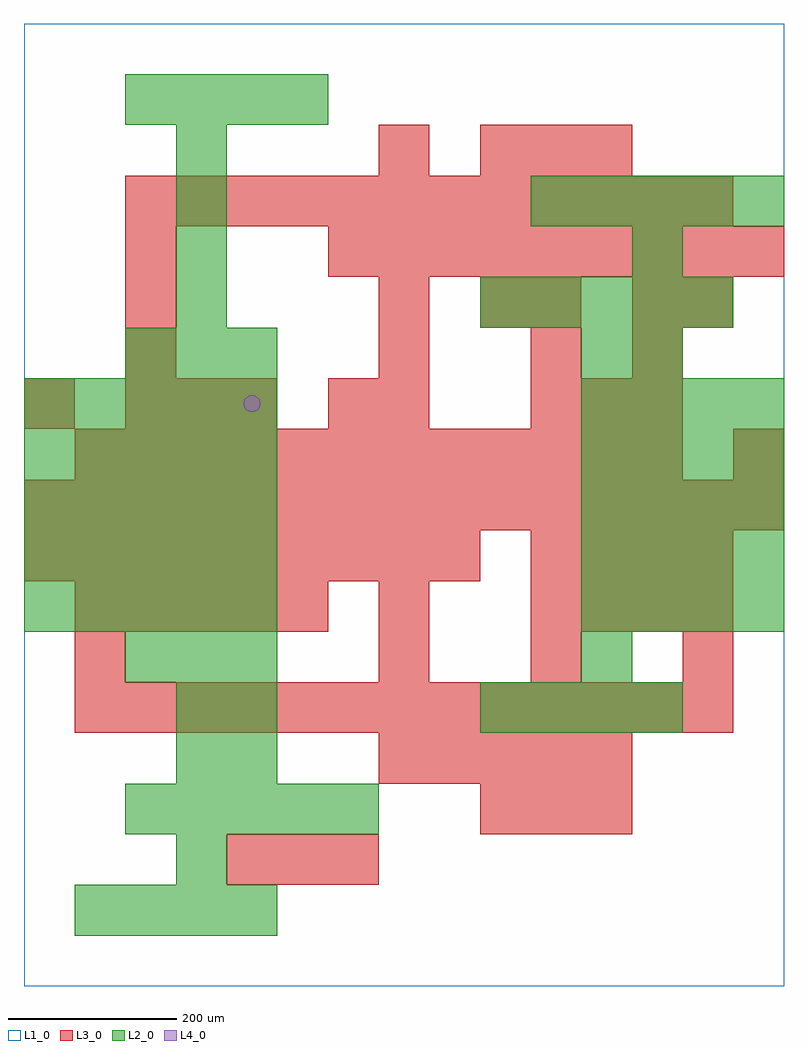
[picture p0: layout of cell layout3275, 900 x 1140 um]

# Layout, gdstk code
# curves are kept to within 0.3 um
import gdstk
lib = gdstk.Library(unit=1e-6, precision=1e-09)
def R(c, l, rs):  # rectangles x0, y0, x1, y1
    for r in rs: c.add(gdstk.rectangle(r[:2], r[2:], *l))
def A(c, l, x, y, w, h, nx, ny, dx, dy):  # array of equal rectangles
    R(c, l, [(x+i*dx, y+j*dy, x+i*dx+w, y+j*dy+h) for i in range(nx) for j in range(ny)])
def P(c, l, *ps):  # polygons
    for p in ps: c.add(gdstk.Polygon(p, *l))
L1_0 = (1, 0)
L2_0 = (2, 0)
L3_0 = (3, 0)
L4_0 = (4, 0)

layout3275 = lib.new_cell('layout3275')
R(layout3275, L1_0, [(0,0,900,1140)])
A(layout3275, L2_0, 60, 60, 60, 60, 4, 1, 60, 0)
A(layout3275, L2_0, 120, 180, 60, 60, 5, 1, 60, 0)
A(layout3275, L2_0, 540, 300, 60, 60, 4, 1, 60, 0)
A(layout3275, L2_0, 120, 360, 60, 60, 3, 2, 60, 360)
A(layout3275, L2_0, 0, 420, 60, 60, 5, 5, 60, 60)
A(layout3275, L2_0, 660, 420, 60, 60, 4, 5, 60, 60)
A(layout3275, L2_0, 180, 780, 60, 60, 1, 4, 0, 60)
A(layout3275, L2_0, 540, 780, 60, 60, 5, 1, 60, 0)
A(layout3275, L2_0, 600, 900, 60, 60, 5, 1, 60, 0)
A(layout3275, L2_0, 120, 1020, 60, 60, 4, 1, 60, 0)
R(layout3275, L2_0, [(180,120,240,180), (180,240,240,300), (240,240,300,300), (180,300,240,360), (240,300,300,360), (660,360,720,420), (660,720,720,780), (720,720,780,780), (720,840,780,900)])
A(layout3275, L3_0, 240, 120, 60, 60, 3, 1, 60, 0)
A(layout3275, L3_0, 540, 180, 60, 60, 3, 2, 60, 780)
A(layout3275, L3_0, 420, 240, 60, 60, 5, 1, 60, 0)
A(layout3275, L3_0, 60, 300, 60, 60, 13, 1, 60, 0)
A(layout3275, L3_0, 420, 360, 60, 60, 3, 1, 180, 0)
A(layout3275, L3_0, 60, 420, 60, 60, 5, 1, 60, 0)
A(layout3275, L3_0, 600, 420, 60, 60, 4, 2, 60, 60)
A(layout3275, L3_0, 0, 480, 60, 60, 9, 1, 60, 0)
A(layout3275, L3_0, 0, 540, 60, 60, 15, 1, 60, 0)
A(layout3275, L3_0, 60, 600, 60, 60, 12, 1, 60, 0)
A(layout3275, L3_0, 120, 660, 60, 60, 3, 1, 60, 0)
A(layout3275, L3_0, 420, 660, 60, 60, 1, 3, 0, 60)
A(layout3275, L3_0, 600, 660, 60, 60, 3, 1, 60, 0)
A(layout3275, L3_0, 120, 720, 60, 60, 1, 3, 0, 60)
A(layout3275, L3_0, 360, 840, 60, 60, 9, 1, 60, 0)
A(layout3275, L3_0, 120, 900, 60, 60, 12, 1, 60, 0)
R(layout3275, L3_0, [(60,360,120,420), (420,420,480,480), (840,600,900,660), (0,660,60,720), (360,660,420,720), (600,720,660,780), (720,720,780,780), (540,780,600,840), (600,780,660,840), (720,780,780,840), (780,780,840,840), (420,960,480,1020)])
P(layout3275, L4_0, [(280,690),(279.239,693.827),(277.071,697.071),(273.827,699.239),(270,700),(266.173,699.239),(262.929,697.071),(260.761,693.827),(260,690),(260.761,686.173),(262.929,682.929),(266.173,680.761),(270,680),(273.827,680.761),(277.071,682.929),(279.239,686.173)])

lib.write_gds('layout3275.gds')
